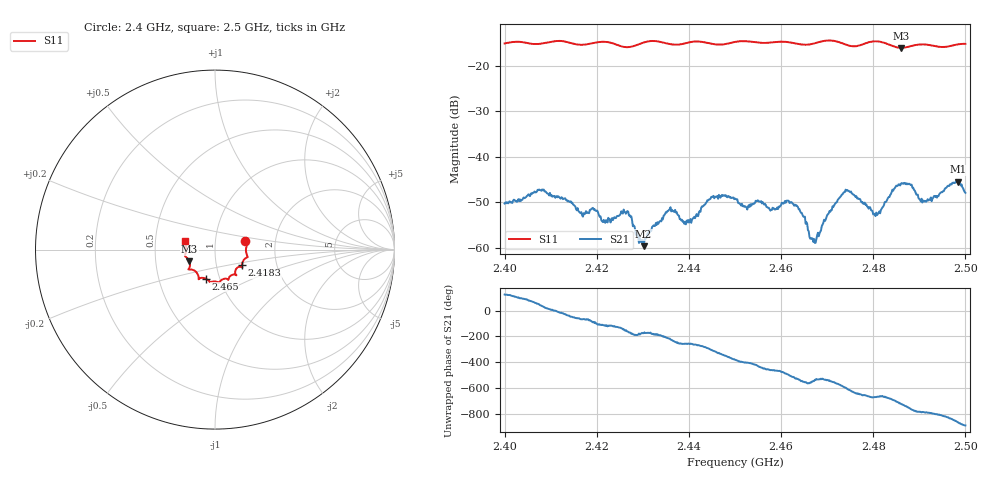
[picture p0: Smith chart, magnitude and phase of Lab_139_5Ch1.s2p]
# Hz S RI R 50
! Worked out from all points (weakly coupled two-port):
!   601 points, 2.4 GHz to 2.5 GHz, reference 50 ohm
!   highest |S21| = -45.43 dB at 2.4983 GHz (marker M1); lowest = -59.6 dB at 2.4302 GHz (marker M2)
!   lowest |S11| = -16.1 dB at 2.486 GHz (marker M3), VSWR 1.37, Z = 37.3 - j4.97 ohm
!   |S11| at or under -10 dB: start of sweep to end of sweep
!   S12 and S22 are empty: the file has one direction only
!   S11 on the Smith chart (normalised r, x): 2.4 GHz: 1.40, +0.13; 2.4183 GHz: 1.33, -0.24; 2.465 GHz: 0.86, -0.28; 2.5 GHz: 0.71, +0.07
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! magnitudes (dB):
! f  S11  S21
! 2.4 GHz  -15.1  -50.2
! 2.408 GHz  -15.2  -47.4
! 2.4167 GHz  -15.4  -52.1
! 2.4183 GHz  -15.2  -52.3
! 2.4218 GHz  -14.8  -54.5
! 2.4263 GHz  -15.9  -52.5
! 2.4302 GHz  -14.9  -59.6
! 2.4333 GHz  -14.7  -54.7
! 2.4358 GHz  -15.3  -51.5
! 2.4395 GHz  -15.0  -54.0
! 2.4448 GHz  -15.2  -48.8
! 2.45 GHz  -14.8  -49.1
! 2.4617 GHz  -14.9  -49.7
! 2.465 GHz  -15.4  -53.2
! 2.4667 GHz  -15.3  -58.0
! 2.474 GHz  -15.4  -47.2
! 2.4805 GHz  -14.7  -53.0
! 2.4833 GHz  -15.4  -48.8
! 2.486 GHz  -16.1  -45.9
! 2.4912 GHz  -15.4  -49.8
! 2.4983 GHz  -15.3  -45.4
! 2.5 GHz  -15.2  -47.9
